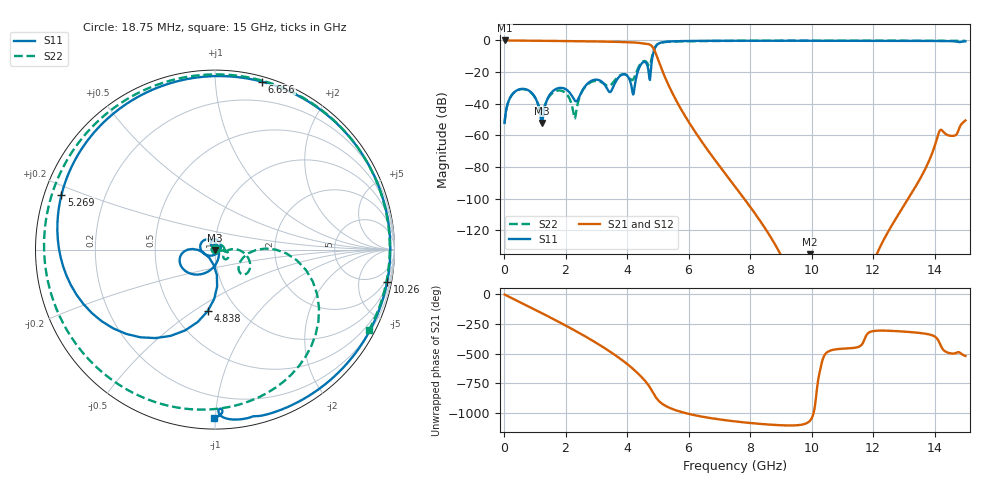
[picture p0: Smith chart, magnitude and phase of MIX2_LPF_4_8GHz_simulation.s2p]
! AWR Design Environment (9138) Thu Jan  4 20:23:24 2024
! Document = 'LPF_48000_MHz_12_radial'
! nPorts: 2, nXvals: 801
# MHz S DB R 50
!Freq DBS11 AngS11 DBS21 AngS21 DBS12 AngS12 DBS22 AngS22
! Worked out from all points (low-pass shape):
!   800 points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, 18.75 MHz to 15 GHz, reference 50 ohm
!   highest |S21| = -0.02 dB at 18.75 MHz (marker M1); lowest = -198.1 dB at 9.956 GHz (marker M2)
!   |S21| within 3 dB of the highest: start of sweep to 4.774 GHz
!   lowest |S11| = -52.2 dB at 1.219 GHz (marker M3), VSWR 1.00, Z = 49.9 - j0.222 ohm
!   |S11| at or under -10 dB: start of sweep to 4.83 GHz
!   |S22| runs from -52.2 to -0.2 dB; largest |S21 - S12| = 0
!   S11 on the Smith chart (normalised r, x): 18.75 MHz: 1.00, +0.00; 4.838 GHz: 0.73, -0.57; 5.269 GHz: 0.05, +0.17; 6.656 GHz: 0.04, +1.32; 10.26 GHz: 1, -11; 15 GHz: 0.06, -0.99
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18.75  -52.18 47.5  -0.02 -2.4  -0.02 -2.4  -52.16 47.3
600  -30.59 23.0  -0.14 -77.3  -0.14 -77.3  -30.76 8.8
1218.75  -52.23 -114.4  -0.25 -157.9  -0.25 -157.9  -45.15 -3.0
1950  -30.32 69.5  -0.39 103.5  -0.39 103.5  -32.52 -30.0
2287.5  -37.61 73.6  -0.46 56.0  -0.46 56.0  -49.04 -147.4
2531.25  -32.18 132.1  -0.51 20.7  -0.51 20.7  -32.51 73.9
3187.5  -26.22 55.2  -0.71 -80.5  -0.71 -80.5  -26.67 -23.0
3693.75  -24.12 -155.3  -0.92 -168.3  -0.92 -168.3  -23.23 -10.5
4200  -34.20 15.5  -1.26 88.8  -1.26 88.8  -24.70 -15.5
4556.25  -13.54 -154.2  -2.00 -2.1  -2.00 -2.1  -13.03 -31.8
4837.5  -9.23 -96.8  -4.36 -108.2  -4.36 -108.2  -7.97 -3.1
5025  -2.01 -157.5  -12.95 -178.0  -12.95 -178.0  -1.94 -54.1
5268.75  -0.84 160.4  -24.80 135.8  -24.80 135.8  -0.95 -96.1
6656.25  -0.25 74.3  -70.20 37.8  -70.20 37.8  -0.36 161.6
7518.75  -0.21 47.2  -92.57 7.0  -92.57 7.0  -0.27 126.4
9956.25  -0.21 -5.1  -198.08 15.6  -198.08 15.6  -0.19 60.7
10012.5  -0.21 -6.2  -207.12 38.7  -207.12 38.7  -0.19 59.5
10256.25  -0.21 -10.5  -224.22 56.6  -224.22 56.6  -0.19 54.5
12506.25  -0.27 -48.3  -120.25 52.1  -120.25 52.1  -0.21 13.1
13687.5  -0.31 -68.3  -81.51 27.6  -81.51 27.6  -0.24 -6.4
14175  -0.42 -77.0  -56.78 -59.4  -56.78 -59.4  -0.26 -14.2
15000  -0.56 -90.4  -50.55 -160.4  -50.55 -160.4  -0.29 -27.7
